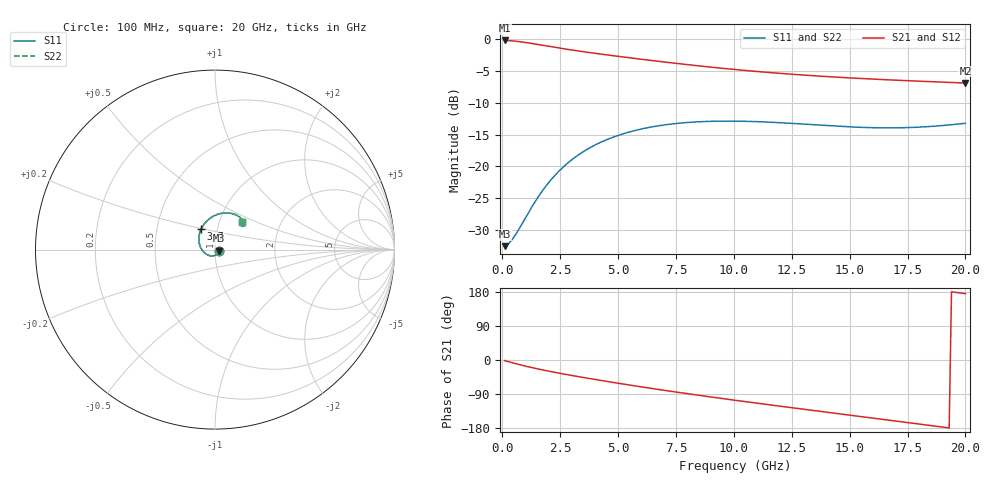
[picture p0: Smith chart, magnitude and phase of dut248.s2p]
! Created with skrf 1.9.0 (http://scikit-rf.org).
# GHz S RI R 50.0
!freq ReS11 ImS11 ReS21 ImS21 ReS12 ImS12 ReS22 ImS22
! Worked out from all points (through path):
!   200 points, 100 MHz to 20 GHz, reference 50 ohm
!   highest |S21| = -0.21 dB at 100 MHz (marker M1); lowest = -6.9 dB at 20 GHz (marker M2)
!   group delay of S21, straight-line fit = 24.2 ps
!   lowest |S11| = -32.5 dB at 100 MHz (marker M3), VSWR 1.05, Z = 52.3 - j0.649 ohm
!   |S11| at or under -10 dB: start of sweep to end of sweep
!   |S22| runs from -32.5 to -12.9 dB; largest |S21 - S12| = 2.2e-15
!   S11 on the Smith chart (normalised r, x): 100 MHz: 1.05, -0.01; 3.7 GHz: 0.84, +0.19; 20 GHz: 1.28, +0.42
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0.1  0.0228 -0.00619  0.9758 -0.0282  0.9758 -0.0282  0.0228 -0.00619
0.3  0.019 -0.0164  0.9691 -0.0853  0.9691 -0.0853  0.019 -0.0164
0.5  0.0115 -0.0254  0.9564 -0.1398  0.9564 -0.1398  0.0115 -0.0254
1  -0.0179 -0.0352  0.9048 -0.2606  0.9048 -0.2606  -0.0179 -0.0352
1.6  -0.0559 -0.0203  0.8229 -0.3731  0.8229 -0.3731  -0.0559 -0.0203
2  -0.0746 0.00127  0.7648 -0.4312  0.7648 -0.4312  -0.0746 0.00127
2.5  -0.0875 0.0344  0.6924 -0.4899  0.6924 -0.4899  -0.0875 0.0344
3  -0.0893 0.0691  0.6214 -0.5368  0.6214 -0.5368  -0.0893 0.0691
3.5  -0.0823 0.1016  0.5518 -0.5744  0.5518 -0.5744  -0.0823 0.1016
3.7  -0.0775 0.1136  0.5244 -0.5872  0.5244 -0.5872  -0.0775 0.1136
4.4  -0.0546 0.1496  0.43 -0.6226  0.43 -0.6226  -0.0546 0.1496
5.1  -0.0258 0.1759  0.3389 -0.645  0.3389 -0.645  -0.0258 0.1759
5.9  0.00957 0.1947  0.2396 -0.6564  0.2396 -0.6564  0.00957 0.1947
6.8  0.048 0.2039  0.1356 -0.6538  0.1356 -0.6538  0.048 0.2039
8.4  0.1041 0.1983  -0.0261 -0.6184  -0.0261 -0.6184  0.1041 0.1983
10.1  0.1419 0.1772  -0.165 -0.552  -0.165 -0.552  0.1419 0.1772
11.7  0.1588 0.1553  -0.268 -0.4731  -0.268 -0.4731  0.1588 0.1553
13.4  0.1624 0.1376  -0.3517 -0.3782  -0.3517 -0.3782  0.1624 0.1376
15.1  0.1579 0.1297  -0.4113 -0.2754  -0.4113 -0.2754  0.1579 0.1297
16.7  0.1518 0.1316  -0.4461 -0.1737  -0.4461 -0.1737  0.1518 0.1316
18.4  0.1488 0.142  -0.4598 -0.0637  -0.4598 -0.0637  0.1488 0.142
20  0.1525 0.1562  -0.4506 0.0381  -0.4506 0.0381  0.1525 0.1562
